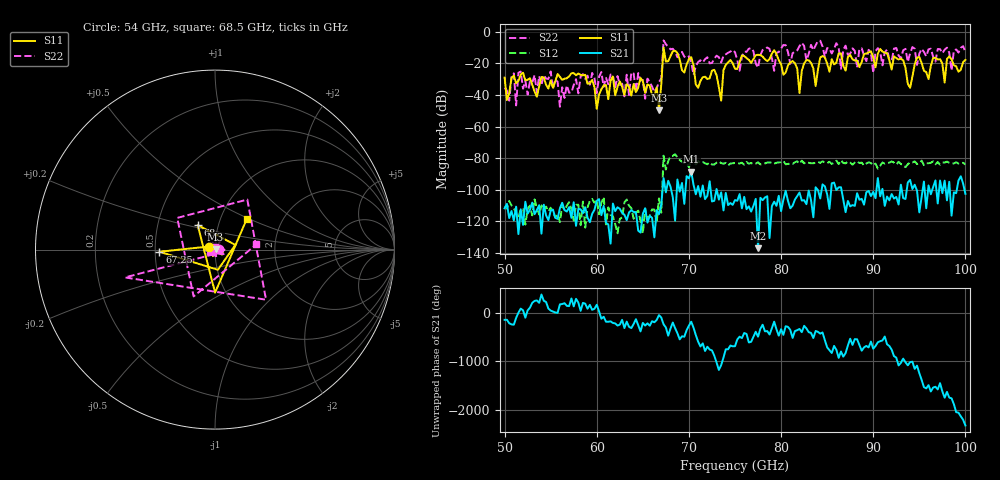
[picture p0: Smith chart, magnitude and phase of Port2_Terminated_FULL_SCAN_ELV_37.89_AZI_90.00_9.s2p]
! 11/25/2026 1:42:58 PM
! C:\ANRITSUVNA\TEMP\TEMP.S2P
! CHANNEL.1
! TR.MEASUREMENT
! RAW.DATA
# HZ S RI R 50.0
! FREQ.HZ  S11RE  S11IM  S21RE  S21IM  S12RE  S12IM  S22RE  S22IM
!; PortSelection: Port_12
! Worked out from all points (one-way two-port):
!   201 points, 50 GHz to 100 GHz, reference 50 ohm
!   highest |S21| = -88.53 dB at 70.25 GHz (marker M1); lowest = -137.0 dB at 77.5 GHz (marker M2)
!   lowest |S11| = -49.7 dB at 66.75 GHz (marker M3), VSWR 1.01, Z = 50.3 + j0.0705 ohm
!   |S11| at or under -10 dB: start of sweep to end of sweep
!   |S22| runs from -47.5 to -5.6 dB; largest |S21 - S12| = 0.00013
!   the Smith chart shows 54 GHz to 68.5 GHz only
!   S11 on the Smith chart (normalised r, x): 54 GHz: 0.93, +0.03; 67.25 GHz: 0.53, -0.01; 68 GHz: 0.80, +0.22; 68.5 GHz: 1.33, +0.49
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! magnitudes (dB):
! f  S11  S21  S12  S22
! 50 GHz  -29.1  -111.7  -110.3  -35.6
! 54 GHz  -28.7  -127.7  -109.9  -33.8
! 56 GHz  -28.6  -111.6  -120.5  -47.5
! 58.5 GHz  -27.7  -114.7  -107.4  -26.9
! 60 GHz  -48.9  -107.0  -106.4  -38.9
! 61.75 GHz  -28.4  -108.7  -116.6  -27.6
! 66.75 GHz  -49.7  -115.4  -105.4  -31.9
! 67.25 GHz  -10.2  -92.6  -78.4  -5.6
! 68 GHz  -15.5  -98.0  -78.8  -11.2
! 68.5 GHz  -12.1  -119.5  -77.4  -12.7
! 70.25 GHz  -16.1  -88.5  -79.6  -19.2
! 73.5 GHz  -43.6  -101.6  -83.2  -19.6
! 73.75 GHz  -24.3  -113.0  -83.5  -15.3
! 75 GHz  -23.5  -106.5  -83.1  -13.0
! 77.5 GHz  -14.7  -137.0  -82.6  -22.8
! 81.25 GHz  -18.6  -110.0  -83.6  -13.6
! 82 GHz  -38.8  -101.7  -83.5  -9.2
! 83.5 GHz  -23.4  -117.3  -83.2  -11.7
! 91.75 GHz  -18.1  -106.6  -82.8  -17.5
! 94 GHz  -35.5  -93.7  -82.5  -13.6
! 94.75 GHz  -16.5  -100.5  -83.7  -21.1
! 100 GHz  -17.9  -102.5  -84.0  -12.8
